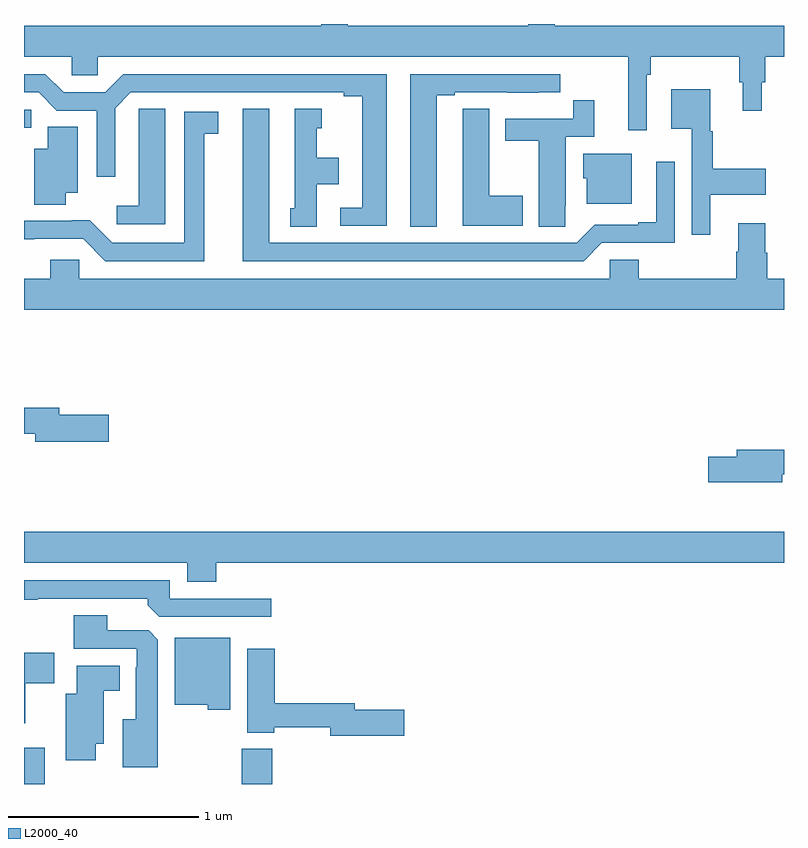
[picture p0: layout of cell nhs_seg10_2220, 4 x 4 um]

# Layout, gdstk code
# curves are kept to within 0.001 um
import gdstk
lib = gdstk.Library(unit=1e-6, precision=1e-09)
def R(c, l, rs):  # rectangles x0, y0, x1, y1
    for r in rs: c.add(gdstk.rectangle(r[:2], r[2:], *l))
def P(c, l, *ps):  # polygons
    for p in ps: c.add(gdstk.Polygon(p, *l))
L2000_40 = (2000, 40)

nhs_seg10_2220 = lib.new_cell('nhs_seg10_2220')
R(nhs_seg10_2220, L2000_40, [(229,1284.5,229.108,1284.691), (230.146,1284.5,230.306,1284.685), (229,1287.954,229.039,1288.05)])
P(nhs_seg10_2220, L2000_40, [(232.278,1288.232),(232.298,1288.232),(232.298,1288.328),(232.765,1288.328),(232.765,1288.194),(232.784,1288.194),(232.784,1288.044),(232.882,1288.044),(232.882,1288.194),(232.901,1288.194),(232.901,1288.328),(233,1288.328),(233,1288.492),(231.793,1288.492),(231.793,1288.5),(231.653,1288.5),(231.653,1288.492),(230.703,1288.492),(230.703,1288.5),(230.564,1288.5),(230.564,1288.492),(229,1288.492),(229,1288.328),(229.251,1288.328),(229.251,1288.23),(229.389,1288.23),(229.389,1288.328),(232.181,1288.328),(232.181,1287.942),(232.278,1287.942)],
  [(231.172,1288.125),(231.268,1288.125),(231.268,1288.14),(231.544,1288.14),(231.544,1288.139),(231.71,1288.139),(231.71,1288.14),(231.823,1288.14),(231.823,1288.236),(231.032,1288.236),(231.032,1287.433),(231.172,1287.433)],
  [(230.908,1288.236),(229.523,1288.236),(229.427,1288.14),(229.209,1288.14),(229.113,1288.236),(229,1288.236),(229,1288.14),(229.077,1288.14),(229.173,1288.044),(229.383,1288.044),(229.383,1287.696),(229.479,1287.696),(229.479,1288.056),(229.563,1288.14),(230.684,1288.14),(230.684,1288.12),(230.78,1288.12),(230.78,1287.534),(230.664,1287.534),(230.664,1287.438),(230.908,1287.438)],
  [(232.612,1287.602),(232.903,1287.602),(232.903,1287.737),(232.624,1287.737),(232.624,1287.936),(232.612,1287.936),(232.612,1288.156),(232.406,1288.156),(232.406,1287.95),(232.515,1287.95),(232.515,1287.39),(232.612,1287.39)],
  [(231.849,1287.544),(231.85,1287.544),(231.85,1287.906),(232.001,1287.906),(232.001,1288.099),(231.892,1288.099),(231.892,1288.002),(231.533,1288.002),(231.533,1287.886),(231.71,1287.886),(231.71,1287.433),(231.849,1287.433)],
  [(229.744,1288.055),(229.605,1288.055),(229.605,1287.947),(229.604,1287.947),(229.604,1287.544),(229.488,1287.544),(229.488,1287.447),(229.744,1287.447)],
  [(231.625,1287.597),(231.448,1287.597),(231.448,1288.055),(231.309,1288.055),(231.309,1287.947),(231.308,1287.947),(231.308,1287.437),(231.625,1287.437)],
  [(232.041,1287.348),(232.425,1287.348),(232.425,1287.775),(232.328,1287.775),(232.328,1287.457),(232.232,1287.457),(232.232,1287.444),(232.005,1287.444),(231.909,1287.348),(230.29,1287.348),(230.29,1288.054),(230.15,1288.054),(230.15,1287.252),(231.945,1287.252)],
  [(230.542,1287.656),(230.656,1287.656),(230.656,1287.796),(230.542,1287.796),(230.542,1287.951),(230.566,1287.951),(230.566,1288.054),(230.426,1288.054),(230.426,1287.531),(230.402,1287.531),(230.402,1287.433),(230.542,1287.433)],
  [(229.948,1287.922),(230.023,1287.922),(230.023,1288.038),(229.844,1288.038),(229.844,1287.348),(229.464,1287.348),(229.346,1287.466),(229,1287.465),(229,1287.368),(229.311,1287.369),(229.428,1287.252),(229.948,1287.252)],
  [(229.219,1287.611),(229.282,1287.611),(229.282,1287.959),(229.124,1287.959),(229.124,1287.844),(229.055,1287.844),(229.055,1287.55),(229.219,1287.55)],
  [(232.198,1287.817),(231.944,1287.817),(231.944,1287.687),(231.962,1287.687),(231.962,1287.554),(232.198,1287.554)],
  [(233,1287.16),(232.913,1287.16),(232.913,1287.297),(232.9,1287.297),(232.9,1287.451),(232.76,1287.451),(232.76,1287.302),(232.748,1287.302),(232.748,1287.16),(232.235,1287.16),(232.235,1287.258),(232.083,1287.258),(232.083,1287.16),(229.29,1287.16),(229.29,1287.258),(229.139,1287.258),(229.139,1287.16),(229,1287.16),(229,1286.996),(233,1286.996)],
  [(229.447,1286.444),(229.186,1286.444),(229.186,1286.48),(229,1286.48),(229,1286.344),(229.058,1286.344),(229.058,1286.302),(229.447,1286.302)],
  [(232.99,1286.13),(233,1286.13),(233,1286.258),(232.751,1286.258),(232.751,1286.222),(232.602,1286.222),(232.602,1286.087),(232.99,1286.087)],
  [(230.012,1285.664),(233,1285.664),(233,1285.828),(229,1285.828),(229,1285.664),(229.859,1285.664),(229.859,1285.565),(230.012,1285.565)],
  [(230.302,1285.476),(229.767,1285.476),(229.767,1285.572),(229,1285.572),(229,1285.471),(229.072,1285.471),(229.072,1285.476),(229.652,1285.476),(229.652,1285.442),(229.713,1285.38),(230.302,1285.38)],
  [(229.705,1285.259),(229.656,1285.308),(229.438,1285.308),(229.438,1285.387),(229.262,1285.387),(229.262,1285.212),(229.593,1285.212),(229.593,1285.115),(229.589,1285.115),(229.589,1284.841),(229.52,1284.841),(229.52,1284.587),(229.705,1284.587)],
  [(230.086,1285.27),(229.793,1285.27),(229.793,1284.917),(229.968,1284.917),(229.968,1284.89),(230.086,1284.89)],
  [(231.001,1284.89),(230.74,1284.89),(230.74,1284.926),(230.321,1284.926),(230.321,1285.213),(230.174,1285.213),(230.174,1284.77),(230.316,1284.77),(230.316,1284.798),(230.612,1284.798),(230.612,1284.755),(231.001,1284.755)],
  [(229.006,1285.03),(229.159,1285.03),(229.159,1285.192),(229,1285.192),(229,1284.819),(229.006,1284.819)],
  [(229.378,1284.713),(229.42,1284.713),(229.42,1284.992),(229.504,1284.992),(229.504,1285.123),(229.277,1285.123),(229.277,1284.976),(229.22,1284.976),(229.22,1284.624),(229.378,1284.624)])

lib.write_gds('nhs_seg10_2220.gds')
